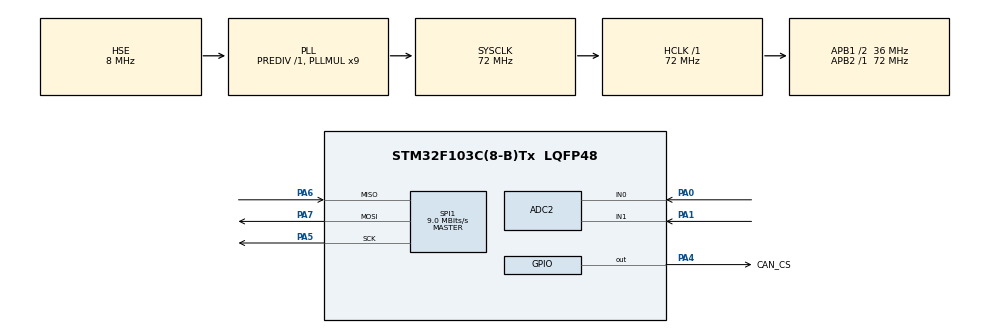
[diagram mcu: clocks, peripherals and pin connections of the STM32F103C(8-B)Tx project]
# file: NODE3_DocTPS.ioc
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ADC2.Channel-0\#ChannelRegularConversion=ADC_CHANNEL_1
ADC2.NbrOfConversionFlag=1
ADC2.Rank-0\#ChannelRegularConversion=1
ADC2.SamplingTime-0\#ChannelRegularConversion=ADC_SAMPLETIME_239CYCLES_5
Mcu.Family=STM32F1
Mcu.Name=STM32F103C(8-B)Tx
Mcu.Package=LQFP48
NVIC.PriorityGroup=NVIC_PRIORITYGROUP_4
PA0-WKUP.Signal=ADCx_IN0
PA1.Signal=ADCx_IN1
PA13.Mode=Serial_Wire
PA13.Signal=SYS_JTMS-SWDIO
PA14.Mode=Serial_Wire
PA14.Signal=SYS_JTCK-SWCLK
PA4.GPIO_Label=CAN_CS
PA4.Signal=GPIO_Output
PA5.Mode=Full_Duplex_Master
PA5.Signal=SPI1_SCK
PA6.Mode=Full_Duplex_Master
PA6.Signal=SPI1_MISO
PA7.Mode=Full_Duplex_Master
PA7.Signal=SPI1_MOSI
PD0-OSC_IN.Mode=HSE-External-Oscillator
PD0-OSC_IN.Signal=RCC_OSC_IN
PD1-OSC_OUT.Mode=HSE-External-Oscillator
PD1-OSC_OUT.Signal=RCC_OSC_OUT
ProjectManager.HeapSize=0x200
ProjectManager.StackSize=0x400
ProjectManager.TargetToolchain=MDK-ARM V5.32
RCC.ADCPresc=RCC_ADCPCLK2_DIV6
RCC.AHBFreq_Value=72000000
RCC.APB1CLKDivider=RCC_HCLK_DIV2
RCC.APB1Freq_Value=36000000
RCC.APB1TimFreq_Value=72000000
RCC.APB2Freq_Value=72000000
RCC.APB2TimFreq_Value=72000000
RCC.HCLKFreq_Value=72000000
RCC.PLLMUL=RCC_PLL_MUL9
RCC.PLLSourceVirtual=RCC_PLLSOURCE_HSE
RCC.SYSCLKFreq_VALUE=72000000
RCC.SYSCLKSource=RCC_SYSCLKSOURCE_PLLCLK
RCC.USBFreq_Value=72000000
SH.ADCx_IN0.0=ADC2_IN0,IN0
SH.ADCx_IN1.0=ADC2_IN1,IN1
SPI1.BaudRatePrescaler=SPI_BAUDRATEPRESCALER_8
SPI1.CalculateBaudRate=9.0 MBits/s
SPI1.Direction=SPI_DIRECTION_2LINES
SPI1.Mode=SPI_MODE_MASTER
SPI1.VirtualType=VM_MASTER
board=custom

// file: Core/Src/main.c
/* USER CODE BEGIN Header */
/**
  ******************************************************************************
  * @file           : main.c
  * @brief          : Main program body
  ******************************************************************************
  * @attention
  *
  * Copyright (c) 2025 STMicroelectronics.
  * All rights reserved.
  *
  * This software is licensed under terms that can be found in the LICENSE file
  * in the root directory of this software component.
  * If no LICENSE file comes with this software, it is provided AS-IS.
  *
  ******************************************************************************
  */
/* USER CODE END Header */
#include "main.h"
/* USER CODE BEGIN Includes */
#include "CANSPI.h"
#include "MCP2515.h"
#include "string.h"
/* USER CODE END Includes */

ADC_HandleTypeDef hadc2;
SPI_HandleTypeDef hspi1;

void SystemClock_Config(void);
static void MX_GPIO_Init(void);
static void MX_SPI1_Init(void);
static void MX_ADC2_Init(void);

/* USER CODE BEGIN 0 */
//Bien doc cam bien
float tps1Raw, tps2Raw;
uCAN_MSG txMessage; uCAN_MSG rxMessage;

//Ham doc cam bien
  uint16_t get_adc_channel(uint32_t channel){
	uint16_t adc;
	//config channel
	ADC_ChannelConfTypeDef sConfig = {0};
	sConfig.Channel = channel;
	sConfig.Rank = ADC_REGULAR_RANK_1;
	sConfig.SamplingTime = ADC_SAMPLETIME_239CYCLES_5;
	if (HAL_ADC_ConfigChannel(&hadc2, &sConfig) != HAL_OK){
		Error_Handler();
	}
	//read adc
	HAL_ADC_Start(&hadc2);
	HAL_ADC_PollForConversion(&hadc2, 5);
	adc = HAL_ADC_GetValue(&hadc2);
	HAL_ADC_Stop(&hadc2);
	return adc;
}

/* USER CODE END 0 */

int main(void)
{

  /* MCU Configuration--------------------------------------------------------*/

  /* Reset of all peripherals, Initializes the Flash interface and the Systick. */
  HAL_Init();

  /* Configure the system clock */
  SystemClock_Config();

  /* Initialize all configured peripherals */
  MX_GPIO_Init();
  MX_SPI1_Init();
  MX_ADC2_Init();
  /* USER CODE BEGIN 2 */
	MCP2515_Reset();
  CANSPI_Initialize();
	HAL_ADCEx_Calibration_Start(&hadc2);
	HAL_Delay(7000);
  /* USER CODE END 2 */

  /* Infinite loop */
  while (1)
  {

    /* USER CODE BEGIN 3 */
		if (CANSPI_Receive(&rxMessage))
    {
			if (rxMessage.frame.id == 0x111 || rxMessage.frame.dlc ==8)
			{
			 HAL_Delay(7000);
			}
	  }
		tps1Raw = get_adc_channel(ADC_CHANNEL_0);
    tps2Raw = get_adc_channel(ADC_CHANNEL_1);
    //CAN FRAME gui TPS1Raw, TPS2Raw
    txMessage.frame.id = 0x115;
    txMessage.frame.dlc = 8;
    memcpy(&txMessage.frame.data0, &tps1Raw, sizeof(float));
    memcpy(&txMessage.frame.data4, &tps2Raw, sizeof(float));
    CANSPI_Transmit(&txMessage);
		HAL_Delay(5);
  }
  /* USER CODE END 3 */
}

void SystemClock_Config(void)
{
  RCC_OscInitTypeDef RCC_OscInitStruct = {0};
  RCC_ClkInitTypeDef RCC_ClkInitStruct = {0};
  RCC_PeriphCLKInitTypeDef PeriphClkInit = {0};

  /** Initializes the RCC Oscillators according to the specified parameters
  * in the RCC_OscInitTypeDef structure.
  */
  RCC_OscInitStruct.OscillatorType = RCC_OSCILLATORTYPE_HSE;
  RCC_OscInitStruct.HSEState = RCC_HSE_ON;
  RCC_OscInitStruct.HSEPredivValue = RCC_HSE_PREDIV_DIV1;
  RCC_OscInitStruct.HSIState = RCC_HSI_ON;
  RCC_OscInitStruct.PLL.PLLState = RCC_PLL_ON;
  RCC_OscInitStruct.PLL.PLLSource = RCC_PLLSOURCE_HSE;
  RCC_OscInitStruct.PLL.PLLMUL = RCC_PLL_MUL9;
  if (HAL_RCC_OscConfig(&RCC_OscInitStruct) != HAL_OK)
  {
    Error_Handler();
  }

  /** Initializes the CPU, AHB and APB buses clocks
  */
  RCC_ClkInitStruct.ClockType = RCC_CLOCKTYPE_HCLK|RCC_CLOCKTYPE_SYSCLK
                              |RCC_CLOCKTYPE_PCLK1|RCC_CLOCKTYPE_PCLK2;
  RCC_ClkInitStruct.SYSCLKSource = RCC_SYSCLKSOURCE_PLLCLK;
  RCC_ClkInitStruct.AHBCLKDivider = RCC_SYSCLK_DIV1;
  RCC_ClkInitStruct.APB1CLKDivider = RCC_HCLK_DIV2;
  RCC_ClkInitStruct.APB2CLKDivider = RCC_HCLK_DIV1;

  if (HAL_RCC_ClockConfig(&RCC_ClkInitStruct, FLASH_LATENCY_2) != HAL_OK)
  {
    Error_Handler();
  }
  PeriphClkInit.PeriphClockSelection = RCC_PERIPHCLK_ADC;
  PeriphClkInit.AdcClockSelection = RCC_ADCPCLK2_DIV6;
  if (HAL_RCCEx_PeriphCLKConfig(&PeriphClkInit) != HAL_OK)
  {
    Error_Handler();
  }
}

static void MX_ADC2_Init(void)
{

  ADC_ChannelConfTypeDef sConfig = {0};

  /** Common config
  */
  hadc2.Instance = ADC2;
  hadc2.Init.ScanConvMode = ADC_SCAN_DISABLE;
  hadc2.Init.ContinuousConvMode = DISABLE;
  hadc2.Init.DiscontinuousConvMode = DISABLE;
  hadc2.Init.ExternalTrigConv = ADC_SOFTWARE_START;
  hadc2.Init.DataAlign = ADC_DATAALIGN_RIGHT;
  hadc2.Init.NbrOfConversion = 1;
  if (HAL_ADC_Init(&hadc2) != HAL_OK)
  {
    Error_Handler();
  }

  /** Configure Regular Channel
  */
  sConfig.Channel = ADC_CHANNEL_1;
  sConfig.Rank = ADC_REGULAR_RANK_1;
  sConfig.SamplingTime = ADC_SAMPLETIME_239CYCLES_5;
  if (HAL_ADC_ConfigChannel(&hadc2, &sConfig) != HAL_OK)
  {
    Error_Handler();
  }

}

static void MX_SPI1_Init(void)
{

  /* SPI1 parameter configuration*/
  hspi1.Instance = SPI1;
  hspi1.Init.Mode = SPI_MODE_MASTER;
  hspi1.Init.Direction = SPI_DIRECTION_2LINES;
  hspi1.Init.DataSize = SPI_DATASIZE_8BIT;
  hspi1.Init.CLKPolarity = SPI_POLARITY_LOW;
  hspi1.Init.CLKPhase = SPI_PHASE_1EDGE;
  hspi1.Init.NSS = SPI_NSS_SOFT;
  hspi1.Init.BaudRatePrescaler = SPI_BAUDRATEPRESCALER_8;
  hspi1.Init.FirstBit = SPI_FIRSTBIT_MSB;
  hspi1.Init.TIMode = SPI_TIMODE_DISABLE;
  hspi1.Init.CRCCalculation = SPI_CRCCALCULATION_DISABLE;
  hspi1.Init.CRCPolynomial = 10;
  if (HAL_SPI_Init(&hspi1) != HAL_OK)
  {
    Error_Handler();
  }

}

static void MX_GPIO_Init(void)
{
  GPIO_InitTypeDef GPIO_InitStruct = {0};

  /* GPIO Ports Clock Enable */
  __HAL_RCC_GPIOD_CLK_ENABLE();
  __HAL_RCC_GPIOA_CLK_ENABLE();

  /*Configure GPIO pin Output Level */
  HAL_GPIO_WritePin(CAN_CS_GPIO_Port, CAN_CS_Pin, GPIO_PIN_RESET);

  /*Configure GPIO pin : CAN_CS_Pin */
  GPIO_InitStruct.Pin = CAN_CS_Pin;
  GPIO_InitStruct.Mode = GPIO_MODE_OUTPUT_PP;
  GPIO_InitStruct.Pull = GPIO_NOPULL;
  GPIO_InitStruct.Speed = GPIO_SPEED_FREQ_LOW;
  HAL_GPIO_Init(CAN_CS_GPIO_Port, &GPIO_InitStruct);

}

void Error_Handler(void)
{
  __disable_irq();
  while (1)
  {
  }
}
